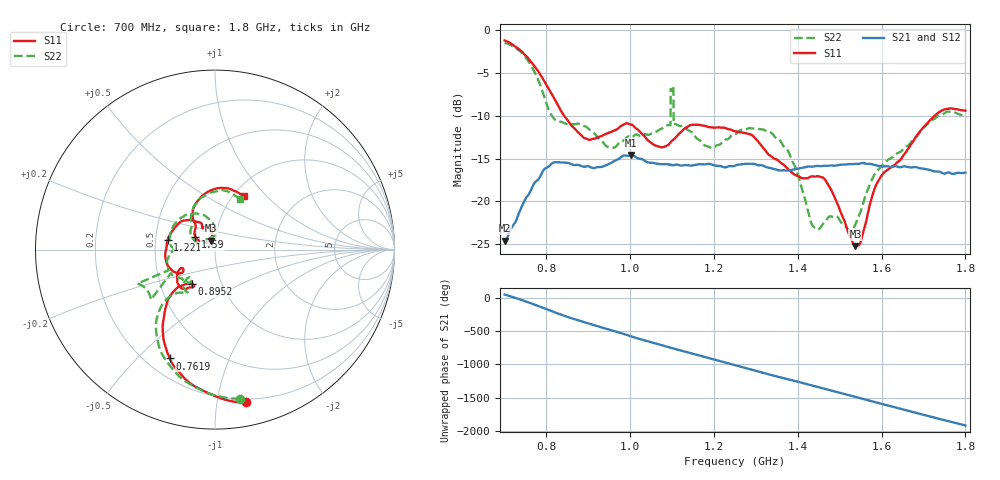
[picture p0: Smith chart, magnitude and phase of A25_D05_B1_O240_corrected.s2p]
! Created with skrf 1.9.0 (http://scikit-rf.org).
# Hz S RI R 50.0
!freq ReS11 ImS11 ReS21 ImS21 ReS12 ImS12 ReS22 ImS22
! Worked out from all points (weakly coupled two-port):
!   1601 points, 700 MHz to 1.8 GHz, reference 50 ohm
!   highest |S21| = -14.59 dB at 1.002 GHz (marker M1); lowest = -24.6 dB at 700 MHz (marker M2)
!   lowest |S11| = -25.2 dB at 1.537 GHz (marker M3), VSWR 1.12, Z = 47.4 + j4.64 ohm
!   |S11| at or under -10 dB: 842 MHz to 1.727 GHz (884.8 MHz wide, 68.9 % of centre)
!   |S22| runs from -23.5 to -1.5 dB; largest |S21 - S12| = 0.0034
!   S11 on the Smith chart (normalised r, x): 700 MHz: 0.17, -1.21; 761.9 MHz: 0.29, -0.63; 895.2 MHz: 0.72, -0.29; 1.221 GHz: 0.58, +0.07; 1.59 GHz: 0.80, +0.11; 1.8 GHz: 1.12, +0.75
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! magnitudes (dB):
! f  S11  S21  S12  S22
! 700 MHz  -1.2  -24.6  -24.4  -1.5
! 761.9 MHz  -3.6  -18.8  -18.7  -4.0
! 816.9 MHz  -7.8  -15.5  -15.6  -10.3
! 883.6 MHz  -12.3  -15.9  -15.8  -11.1
! 895.2 MHz  -12.7  -15.9  -16.0  -11.3
! 948.2 MHz  -12.0  -15.6  -15.7  -13.7
! 1.002 GHz  -11.0  -14.6  -14.7  -12.5
! 1.067 GHz  -13.6  -15.6  -15.6  -11.7
! 1.091 GHz  -13.4  -15.7  -15.7  -11.1
! 1.102 GHz  -12.8  -15.8  -15.7  -6.7
! 1.109 GHz  -12.5  -15.7  -15.8  -11.0
! 1.221 GHz  -11.4  -16.0  -16.0  -13.0
! 1.25 GHz  -11.8  -15.8  -15.8  -12.1
! 1.357 GHz  -15.4  -16.4  -16.3  -12.9
! 1.396 GHz  -16.9  -16.2  -16.2  -16.2
! 1.434 GHz  -17.1  -15.9  -15.9  -22.7
! 1.47 GHz  -17.9  -15.8  -15.8  -22.0
! 1.537 GHz  -25.2  -15.6  -15.6  -22.7
! 1.59 GHz  -17.8  -15.8  -15.8  -16.4
! 1.617 GHz  -16.2  -15.9  -15.9  -15.1
! 1.733 GHz  -9.8  -16.5  -16.5  -10.1
! 1.8 GHz  -9.4  -16.7  -16.6  -10.1
